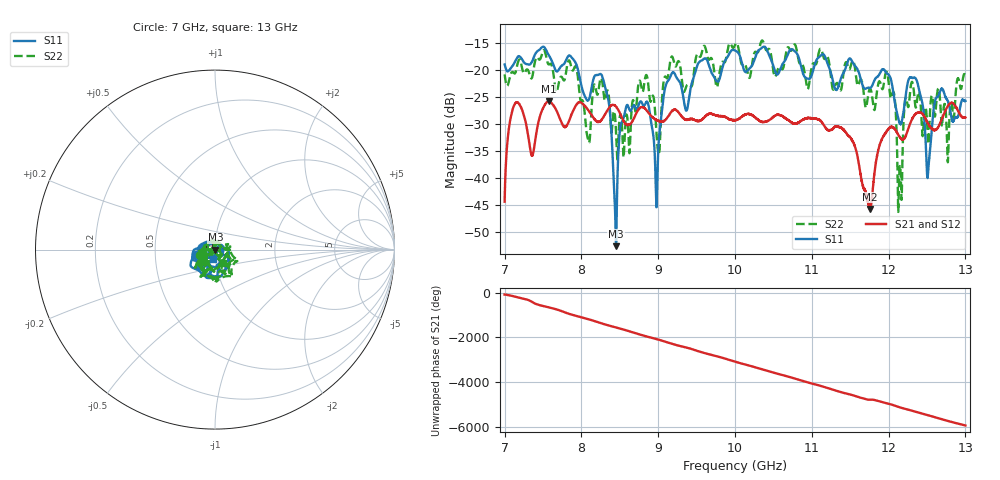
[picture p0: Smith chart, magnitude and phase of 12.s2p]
[Version] 2.0
! Rohde & Schwarz Vector Network Analyzer
! Rohde-Schwarz,ZNL20-2Port,1323001220200009,1.71.1.10-23.02.1.238
! Port Assignments:
! Nominal Port -> Actual Test Port
!  1 -> 1
!  2 -> 2
! Created: GMT+3 2024-09-24 15:13:41
# Hz S DB R 50
[Number of Ports] 2
[Two-Port Data Order] 21_12
! freq[Hz]  S11[mag dB]  S11[ang]  S21[mag dB]  S21[ang]  S12[mag dB]  S12[ang]  S22[mag dB]  S22[ang]
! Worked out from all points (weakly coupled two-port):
!   6001 points, 7 GHz to 13 GHz, reference 50 ohm
!   highest |S21| = -25.74 dB at 7.576 GHz (marker M1); lowest = -45.7 dB at 11.76 GHz (marker M2)
!   lowest |S11| = -52.6 dB at 8.451 GHz (marker M3), VSWR 1.00, Z = 50.2 - j0.125 ohm
!   |S11| at or under -10 dB: start of sweep to end of sweep
!   |S22| runs from -46.3 to -14.6 dB; largest |S21 - S12| = 0.00081
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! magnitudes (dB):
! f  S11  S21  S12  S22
! 7 GHz  -19.0  -44.4  -44.3  -20.9
! 7.129 GHz  -18.7  -26.4  -26.4  -20.7
! 7.358 GHz  -18.5  -35.9  -35.9  -21.4
! 7.576 GHz  -17.3  -25.7  -25.7  -19.0
! 8 GHz  -22.9  -26.1  -26.1  -25.8
! 8.09 GHz  -25.6  -27.5  -27.4  -33.1
! 8.288 GHz  -22.0  -28.7  -28.7  -24.2
! 8.451 GHz  -52.6  -26.8  -26.8  -31.6
! 8.592 GHz  -26.5  -30.2  -30.2  -28.4
! 8.845 GHz  -25.9  -27.4  -27.5  -21.0
! 9 GHz  -35.0  -29.4  -29.4  -35.2
! 9.174 GHz  -20.7  -27.7  -27.7  -17.6
! 9.368 GHz  -27.5  -29.2  -29.3  -23.0
! 10 GHz  -16.5  -29.3  -29.3  -15.4
! 11 GHz  -20.9  -29.0  -28.9  -19.4
! 11.76 GHz  -23.4  -45.7  -45.7  -23.5
! 12 GHz  -20.9  -30.9  -30.8  -22.3
! 12.15 GHz  -29.9  -32.4  -32.4  -37.8
! 12.3 GHz  -21.4  -29.3  -29.2  -22.3
! 12.51 GHz  -39.1  -29.9  -29.9  -33.4
! 12.67 GHz  -24.0  -29.9  -29.9  -25.4
! 13 GHz  -25.8  -28.8  -28.8  -21.4
